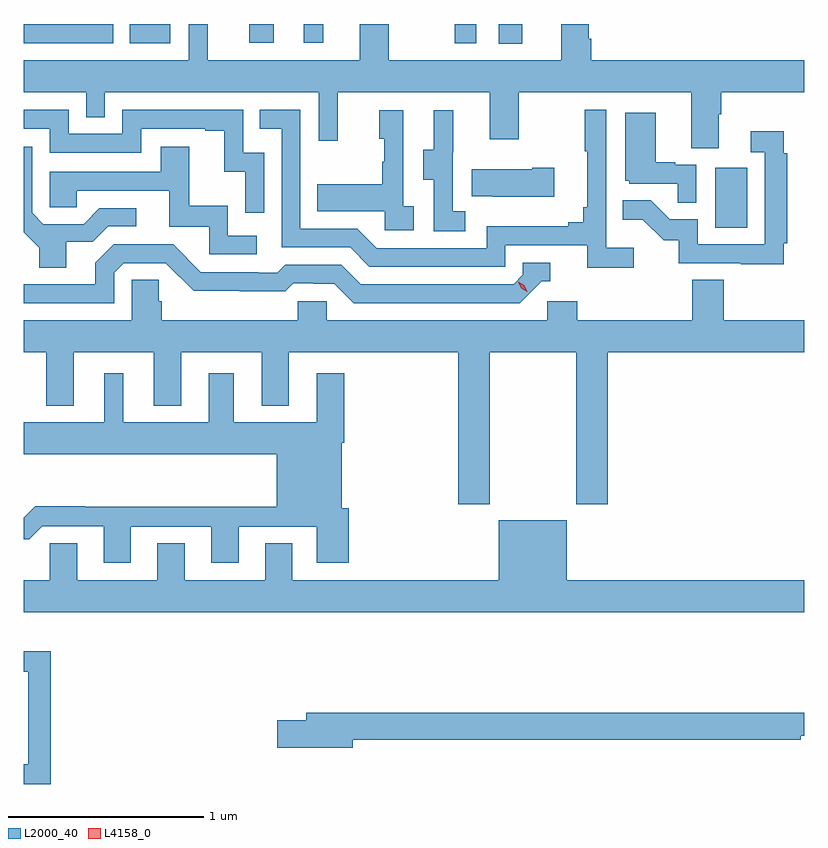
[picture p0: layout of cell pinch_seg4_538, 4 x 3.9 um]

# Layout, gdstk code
import gdstk
lib = gdstk.Library(unit=1e-6, precision=1e-09)
def R(c, l, rs):  # rectangles x0, y0, x1, y1
    for r in rs: c.add(gdstk.rectangle(r[:2], r[2:], *l))
def P(c, l, *ps):  # polygons
    for p in ps: c.add(gdstk.Polygon(p, *l))
L2000_40 = (2000, 40)
L4158_0 = (4158, 0)

pinch_seg4_538 = lib.new_cell('pinch_seg4_538')
R(pinch_seg4_538, L2000_40, [(1123.514,784.14,1123.678,784.447), (1122.404,785.081,1122.526,785.183), (1122.18,785.085,1122.288,785.183), (1121.126,785.088,1121.25,785.183), (1121.405,785.088,1121.504,785.183)])
P(pinch_seg4_538, L2000_40, [(1121.693,785.183),(1121.693,784.996),(1120.913,784.996),(1120.913,785.183),(1120.815,785.183),(1120.815,784.996),(1119.97,784.996),(1119.97,784.832),(1120.29,784.832),(1120.29,784.705),(1120.386,784.705),(1120.386,784.832),(1121.481,784.832),(1121.481,784.584),(1121.579,784.584),(1121.579,784.832),(1122.359,784.832),(1122.359,784.593),(1122.507,784.593),(1122.507,784.832),(1123.391,784.832),(1123.391,784.546),(1123.531,784.546),(1123.531,784.72),(1123.544,784.72),(1123.544,784.832),(1123.97,784.832),(1123.97,784.996),(1122.878,784.996),(1122.878,785.108),(1122.865,785.108),(1122.865,785.183),(1122.725,785.183),(1122.725,784.996),(1121.841,784.996),(1121.841,785.183)],
  [(1120.722,785.183),(1120.626,785.183),(1120.626,785.181),(1120.513,785.181),(1120.513,785.085),(1120.722,785.085)],
  [(1120.428,785.183),(1120.235,785.183),(1120.235,785.181),(1119.97,785.181),(1119.97,785.085),(1120.428,785.085)],
  [(1123.096,784.036),(1122.954,784.036),(1122.954,784.744),(1122.846,784.744),(1122.846,784.531),(1122.857,784.531),(1122.857,784.243),(1122.838,784.243),(1122.838,784.166),(1122.761,784.166),(1122.761,784.147),(1122.342,784.147),(1122.342,784.035),(1121.778,784.035),(1121.679,784.134),(1121.388,784.134),(1121.388,784.743),(1121.179,784.743),(1121.179,784.647),(1121.292,784.647),(1121.292,784.038),(1121.642,784.038),(1121.741,783.939),(1122.438,783.939),(1122.438,784.05),(1122.857,784.05),(1122.857,783.934),(1123.096,783.934)],
  [(1121.202,784.524),(1121.094,784.524),(1121.094,784.743),(1120.476,784.743),(1120.476,784.62),(1120.2,784.62),(1120.2,784.743),(1119.97,784.743),(1119.97,784.647),(1120.104,784.647),(1120.104,784.524),(1120.572,784.524),(1120.572,784.647),(1120.901,784.647),(1120.901,784.635),(1120.997,784.635),(1120.997,784.427),(1121.106,784.427),(1121.106,784.215),(1121.202,784.215)],
  [(1122.232,784.223),(1122.168,784.223),(1122.168,784.527),(1122.17,784.527),(1122.17,784.741),(1122.071,784.741),(1122.071,784.539),(1122.017,784.539),(1122.017,784.384),(1122.072,784.384),(1122.072,784.12),(1122.232,784.12)],
  [(1121.968,784.25),(1121.916,784.25),(1121.916,784.741),(1121.792,784.741),(1121.792,784.596),(1121.818,784.596),(1121.818,784.478),(1121.808,784.478),(1121.808,784.363),(1121.473,784.363),(1121.473,784.223),(1121.82,784.223),(1121.82,784.125),(1121.968,784.125)],
  [(1123.416,784.461),(1123.31,784.461),(1123.31,784.474),(1123.21,784.474),(1123.21,784.729),(1123.052,784.729),(1123.052,784.38),(1123.074,784.38),(1123.074,784.365),(1123.321,784.365),(1123.321,784.267),(1123.416,784.267)],
  [(1123.865,784.06),(1123.883,784.06),(1123.883,784.52),(1123.865,784.52),(1123.865,784.633),(1123.695,784.633),(1123.695,784.527),(1123.767,784.527),(1123.767,784.053),(1123.425,784.053),(1123.425,784.182),(1123.281,784.182),(1123.183,784.28),(1123.039,784.28),(1123.039,784.181),(1123.143,784.181),(1123.25,784.074),(1123.327,784.074),(1123.327,783.957),(1123.645,783.957),(1123.645,783.952),(1123.865,783.952)],
  [(1121.164,784.098),(1121.016,784.098),(1121.016,784.252),(1120.817,784.252),(1120.817,784.555),(1120.673,784.555),(1120.673,784.425),(1120.104,784.425),(1120.104,784.245),(1120.241,784.245),(1120.241,784.329),(1120.715,784.329),(1120.715,784.143),(1120.92,784.143),(1120.92,784.002),(1121.164,784.002)],
  [(1120.189,784.066),(1120.324,784.066),(1120.404,784.146),(1120.546,784.146),(1120.546,784.239),(1120.358,784.239),(1120.277,784.158),(1120.071,784.158),(1120.014,784.215),(1120.014,784.555),(1119.97,784.555),(1119.97,784.115),(1120.049,784.036),(1120.049,783.934),(1120.189,783.934)],
  [(1122.688,784.446),(1122.575,784.446),(1122.575,784.438),(1122.265,784.438),(1122.265,784.301),(1122.373,784.301),(1122.373,784.298),(1122.688,784.298)],
  [(1120.434,783.909),(1120.482,783.957),(1120.698,783.957),(1120.84,783.815),(1121.076,783.815),(1121.076,783.813),(1121.309,783.813),(1121.351,783.855),(1121.454,783.855),(1121.454,783.852),(1121.561,783.852),(1121.66,783.753),(1122.513,783.753),(1122.624,783.864),(1122.667,783.864),(1122.667,783.96),(1122.528,783.96),(1122.528,783.897),(1122.48,783.849),(1121.697,783.849),(1121.598,783.948),(1121.309,783.948),(1121.27,783.909),(1121.171,783.909),(1121.171,783.912),(1120.878,783.912),(1120.737,784.053),(1120.431,784.053),(1120.337,783.959),(1120.337,783.849),(1119.97,783.849),(1119.97,783.753),(1120.434,783.753)],
  [(1122.806,783.762),(1122.654,783.762),(1122.654,783.664),(1121.523,783.664),(1121.523,783.762),(1121.373,783.762),(1121.373,783.664),(1120.676,783.664),(1120.676,783.762),(1120.661,783.762),(1120.661,783.872),(1120.524,783.872),(1120.524,783.664),(1119.97,783.664),(1119.97,783.5),(1120.085,783.5),(1120.085,783.227),(1120.225,783.227),(1120.225,783.5),(1120.637,783.5),(1120.637,783.227),(1120.777,783.227),(1120.777,783.5),(1121.189,783.5),(1121.189,783.227),(1121.329,783.227),(1121.329,783.5),(1122.197,783.5),(1122.197,782.721),(1122.357,782.721),(1122.357,783.5),(1122.802,783.5),(1122.802,782.721),(1122.962,782.721),(1122.962,783.5),(1123.97,783.5),(1123.97,783.664),(1123.557,783.664),(1123.557,783.872),(1123.397,783.872),(1123.397,783.664),(1122.806,783.664)],
  [(1120.519,782.607),(1120.931,782.607),(1120.931,782.421),(1121.071,782.421),(1121.071,782.607),(1121.471,782.607),(1121.471,782.421),(1121.636,782.421),(1121.636,782.7),(1121.599,782.7),(1121.599,783.038),(1121.612,783.038),(1121.612,783.394),(1121.471,783.394),(1121.471,783.142),(1121.047,783.142),(1121.047,783.394),(1120.919,783.394),(1120.919,783.142),(1120.48,783.142),(1120.48,783.394),(1120.382,783.394),(1120.382,783.142),(1119.97,783.142),(1119.97,782.978),(1121.267,782.978),(1121.267,782.708),(1120.283,782.708),(1120.283,782.711),(1120.028,782.711),(1119.97,782.653),(1119.97,782.543),(1119.998,782.543),(1120.065,782.61),(1120.379,782.61),(1120.379,782.421),(1120.519,782.421)],
  [(1123.97,782.332),(1122.754,782.332),(1122.754,782.641),(1122.404,782.641),(1122.404,782.332),(1121.347,782.332),(1121.347,782.522),(1121.207,782.522),(1121.207,782.332),(1120.795,782.332),(1120.795,782.522),(1120.655,782.522),(1120.655,782.332),(1120.243,782.332),(1120.243,782.522),(1120.104,782.522),(1120.104,782.332),(1119.97,782.332),(1119.97,782.168),(1123.97,782.168)],
  [(1120.109,781.969),(1119.97,781.969),(1119.97,781.863),(1119.993,781.863),(1119.993,781.389),(1119.97,781.389),(1119.97,781.288),(1120.109,781.288)],
  [(1121.656,781.516),(1123.952,781.516),(1123.952,781.535),(1123.97,781.535),(1123.97,781.652),(1121.417,781.652),(1121.417,781.616),(1121.268,781.616),(1121.268,781.474),(1121.656,781.474)])
P(pinch_seg4_538, L4158_0, [(1122.55,783.81),(1122.519,783.83),(1122.504,783.863),(1122.504,783.863),(1122.504,783.863),(1122.534,783.843),(1122.55,783.81),(1122.55,783.81)])

lib.write_gds('pinch_seg4_538.gds')
